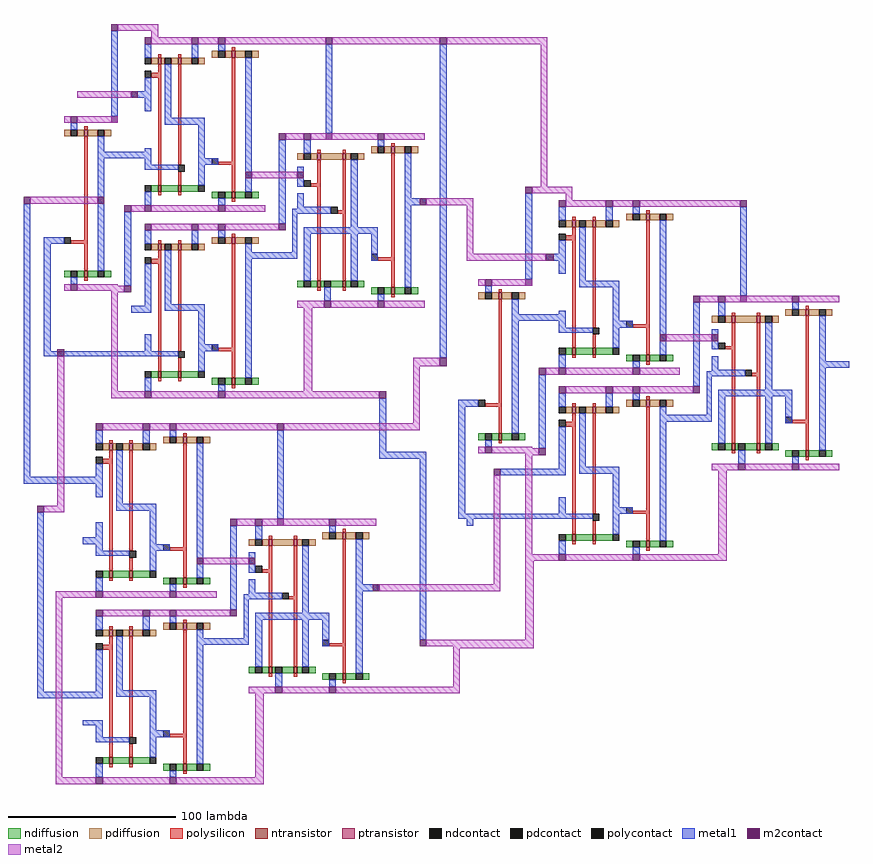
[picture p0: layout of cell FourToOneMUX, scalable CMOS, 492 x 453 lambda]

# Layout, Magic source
magic
tech scmos
<< metal1 >>
rect -12 -47 -8 116
rect 236 24 240 211
rect 475 18 480 22
rect 200 -32 204 0
rect 200 -36 228 -32
rect -12 -51 23 -47
rect -4 -175 0 -68
rect 31 -81 35 -74
rect 224 -144 228 -36
rect 272 -46 299 -42
rect 252 -76 256 -72
rect -4 -179 23 -175
<< metal2 >>
rect 172 211 236 215
rect 240 211 300 215
rect 20 179 52 183
rect 296 126 300 211
rect -8 116 32 120
rect 228 115 256 119
rect 252 86 256 115
rect 252 82 299 86
rect 8 -64 12 25
rect 220 19 236 24
rect 160 0 200 4
rect 220 -15 224 19
rect 143 -19 224 -15
rect 0 -68 12 -64
rect 268 -111 272 -46
rect 200 -115 272 -111
rect 287 -144 292 -97
rect 228 -148 292 -144
rect 244 -149 292 -148
rect 244 -172 248 -149
rect 198 -176 248 -172
<< m2contact >>
rect 236 211 240 215
rect 52 179 56 183
rect -12 116 -8 120
rect 32 116 36 120
rect 224 115 228 119
rect 8 25 12 29
rect 299 82 304 86
rect 236 19 240 24
rect 200 0 204 4
rect -4 -68 0 -64
rect 196 -115 200 -111
rect 268 -46 272 -42
rect 224 -148 228 -144
use TwoToOneMUX  TwoToOneMUX_0
transform 1 0 60 0 1 111
box -60 -111 168 112
use TwoToOneMUX  TwoToOneMUX_1
transform 1 0 307 0 1 14
box -60 -111 168 112
use WONOTTwoToOneMUX  WONOTTwoToOneMUX_0
transform 1 0 31 0 1 -119
box -24 -111 168 104
<< end >>

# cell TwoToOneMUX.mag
magic
tech scmos
<< metal1 >>
rect -20 57 -16 108
rect -8 68 0 72
rect 108 47 112 100
rect -24 32 0 36
rect -60 -19 -48 -15
rect -60 -83 -56 -19
rect -12 -44 -8 0
rect 80 -7 84 43
rect 159 4 168 8
rect 88 -24 91 2
rect 64 -28 91 -24
rect 0 -56 4 -51
rect -8 -60 4 -56
rect -60 -86 0 -83
<< metal2 >>
rect -16 108 8 112
rect 4 104 8 108
rect 72 100 108 104
rect 84 43 95 47
rect 64 20 91 24
rect -8 0 0 4
rect 72 -11 80 -7
rect -16 -47 -12 -44
rect -20 -48 -12 -47
rect -20 -107 -16 -48
rect 95 -107 100 -57
rect -20 -111 0 -107
rect 72 -111 100 -107
<< m2contact >>
rect -20 108 -16 112
rect 108 100 112 104
rect -20 53 -16 57
rect 80 43 84 47
rect 108 43 112 47
rect 60 20 64 24
rect -12 0 -8 4
rect 91 20 95 24
rect 80 -11 84 -7
rect -12 -48 -8 -44
use and  and_0
transform 1 0 0 0 1 0
box 0 0 72 104
use and  and_1
transform 1 0 0 0 1 -111
box 0 0 72 104
use not  not_0
transform 1 0 -56 0 1 -47
box 8 0 40 104
use or  or_0
transform 1 0 91 0 1 -57
box 0 0 76 104
<< end >>

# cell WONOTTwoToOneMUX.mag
magic
tech scmos
<< metal1 >>
rect -8 68 0 72
rect 108 47 112 100
rect -8 32 0 36
rect 80 -7 84 43
rect 159 4 168 8
rect 88 -24 91 2
rect 64 -28 91 -24
rect 0 -56 4 -51
rect -8 -60 4 -56
rect -8 -76 0 -73
<< metal2 >>
rect 72 100 108 104
rect 84 43 95 47
rect 64 20 91 24
rect -24 0 0 4
rect -24 -107 -20 0
rect 72 -11 80 -7
rect 95 -107 100 -57
rect -24 -111 0 -107
rect 72 -111 100 -107
<< m2contact >>
rect 108 100 112 104
rect 80 43 84 47
rect 108 43 112 47
rect 60 20 64 24
rect 91 20 95 24
rect 80 -11 84 -7
use and  and_0
transform 1 0 0 0 1 0
box 0 0 72 104
use and  and_1
transform 1 0 0 0 1 -111
box 0 0 72 104
use or  or_0
transform 1 0 91 0 1 -57
box 0 0 76 104
<< end >>

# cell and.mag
magic
tech scmos
<< metal1 >>
rect 36 28 44 32
use nand  nand_0
transform 1 0 -4 0 1 0
box 4 0 44 104
use not  not_0
transform 1 0 32 0 1 0
box 8 0 40 104
<< end >>

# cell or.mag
magic
tech scmos
<< metal1 >>
rect 40 44 48 48
rect 44 28 48 44
use nor  nor_0
transform 1 0 0 0 1 0
box 0 0 44 104
use not  not_0
transform 1 0 36 0 1 0
box 8 0 40 104
<< end >>

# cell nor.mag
magic
tech scmos
<< polysilicon >>
rect 12 92 14 94
rect 27 92 29 94
rect 12 74 14 88
rect 8 72 14 74
rect 12 16 14 72
rect 27 58 29 88
rect 24 56 29 58
rect 27 16 29 56
rect 12 10 14 12
rect 27 10 29 12
<< ndiffusion >>
rect 0 12 4 16
rect 8 12 12 16
rect 14 12 16 16
rect 20 12 27 16
rect 29 12 32 16
rect 36 12 40 16
<< pdiffusion >>
rect 0 88 4 92
rect 8 88 12 92
rect 14 88 27 92
rect 29 88 32 92
rect 36 88 40 92
<< metal1 >>
rect 4 92 8 100
rect 0 72 4 84
rect 0 60 4 68
rect 0 56 20 60
rect 32 48 36 88
rect 4 44 44 48
rect 4 16 8 44
rect 32 16 36 44
rect 16 4 20 12
<< metal2 >>
rect 0 100 4 104
rect 8 100 44 104
rect 0 0 16 4
rect 20 0 44 4
<< ntransistor >>
rect 12 12 14 16
rect 27 12 29 16
<< ptransistor >>
rect 12 88 14 92
rect 27 88 29 92
<< polycontact >>
rect 4 72 8 76
rect 20 56 24 60
<< ndcontact >>
rect 4 12 8 16
rect 16 12 20 16
rect 32 12 36 16
<< pdcontact >>
rect 4 88 8 92
rect 32 88 36 92
<< m2contact >>
rect 4 100 8 104
rect 16 0 20 4
<< labels >>
rlabel metal2 2 102 2 102 4 vdd
rlabel metal1 2 82 2 82 3 a
rlabel metal1 2 66 2 66 3 b
rlabel metal1 42 46 42 46 7 o
rlabel metal2 2 2 2 2 2 gnd
<< end >>

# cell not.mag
magic
tech scmos
<< polysilicon >>
rect 20 96 22 98
rect 20 30 22 92
rect 12 28 22 30
rect 20 12 22 28
rect 20 6 22 8
<< ndiffusion >>
rect 8 8 12 12
rect 16 8 20 12
rect 22 8 28 12
rect 32 8 36 12
<< pdiffusion >>
rect 8 92 12 96
rect 16 92 20 96
rect 22 92 28 96
rect 32 92 36 96
<< metal1 >>
rect 12 96 16 100
rect 28 12 32 92
rect 12 4 16 8
<< metal2 >>
rect 8 100 12 104
rect 16 100 40 104
rect 8 0 12 4
rect 16 0 40 4
<< ntransistor >>
rect 20 8 22 12
<< ptransistor >>
rect 20 92 22 96
<< polycontact >>
rect 8 28 12 32
<< ndcontact >>
rect 12 8 16 12
rect 28 8 32 12
<< pdcontact >>
rect 12 92 16 96
rect 28 92 32 96
<< m2contact >>
rect 12 100 16 104
rect 12 0 16 4
<< end >>

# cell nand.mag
magic
tech scmos
<< polysilicon >>
rect 12 92 14 94
rect 24 92 26 94
rect 12 83 14 88
rect 8 80 14 83
rect 12 16 14 80
rect 24 28 26 88
rect 24 16 26 24
rect 12 10 14 12
rect 24 10 26 12
<< ndiffusion >>
rect 8 12 12 16
rect 14 12 24 16
rect 26 12 36 16
<< pdiffusion >>
rect 8 88 12 92
rect 14 88 16 92
rect 20 88 24 92
rect 26 88 32 92
rect 36 88 40 92
<< metal1 >>
rect 4 92 8 100
rect 32 92 36 100
rect 4 60 8 80
rect 16 56 20 88
rect 16 52 40 56
rect 4 28 8 38
rect 4 25 24 28
rect 36 16 40 52
rect 4 4 8 12
<< metal2 >>
rect 8 100 32 104
rect 36 100 44 104
rect 8 0 44 4
<< ntransistor >>
rect 12 12 14 16
rect 24 12 26 16
<< ptransistor >>
rect 12 88 14 92
rect 24 88 26 92
<< polycontact >>
rect 4 80 8 84
rect 24 24 28 28
<< ndcontact >>
rect 4 12 8 16
rect 36 12 40 16
<< pdcontact >>
rect 4 88 8 92
rect 16 88 20 92
rect 32 88 36 92
<< m2contact >>
rect 4 100 8 104
rect 32 100 36 104
rect 4 0 8 4
<< end >>
